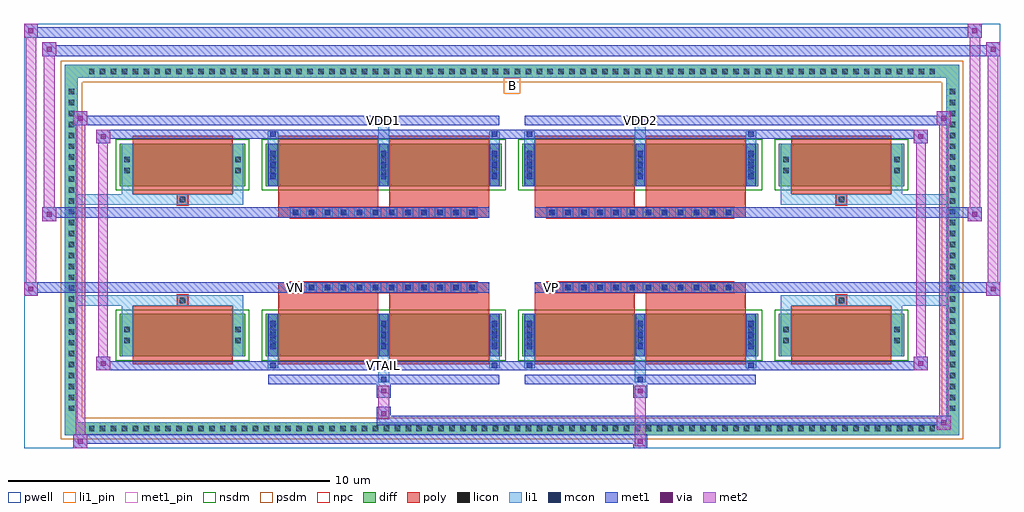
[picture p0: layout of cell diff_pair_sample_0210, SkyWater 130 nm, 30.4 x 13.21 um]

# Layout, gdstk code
import gdstk
lib = gdstk.Library(unit=1e-6, precision=5e-09)
def R(c, l, rs):  # rectangles x0, y0, x1, y1
    for r in rs: c.add(gdstk.rectangle(r[:2], r[2:], *l))
def A(c, l, x, y, w, h, nx, ny, dx, dy):  # array of equal rectangles
    R(c, l, [(x+i*dx, y+j*dy, x+i*dx+w, y+j*dy+h) for i in range(nx) for j in range(ny)])
def P(c, l, *ps):  # polygons
    for p in ps: c.add(gdstk.Polygon(p, *l))
pwell = (64, 44)
diff = (65, 20)
poly = (66, 20)
licon = (66, 44)
li1_pin = (67, 16)
li1 = (67, 20)
mcon = (67, 44)
met1_pin = (68, 16)
met1 = (68, 20)
via = (68, 44)
met2 = (69, 20)
nsdm = (93, 44)
psdm = (94, 20)
npc = (95, 20)

diff_pair_sample_0210 = lib.new_cell('diff_pair_sample_0210')
R(diff_pair_sample_0210, pwell, [(-15.2,-6.17,15.2,7.04), (-12.52,-4.36,-0.01,-0.8), (0.01,-4.36,12.52,-0.8), (-12.52,0.8,-0.01,4.36), (0.01,0.8,12.52,4.36)])
A(diff_pair_sample_0210, diff, -13.295, -5.77, 0.41, 0.41, 78, 2, 0.34, 11.13)
A(diff_pair_sample_0210, diff, -13.93, -5.135, 0.41, 0.41, 1, 30, 0, 0.34)
A(diff_pair_sample_0210, diff, 13.52, -5.135, 0.41, 0.41, 1, 30, 0, 0.34)
R(diff_pair_sample_0210, diff, [(-13.295,-5.77,13.295,-5.36), (-13.93,-5.135,-13.52,5.135), (13.52,-5.135,13.93,5.135), (-12.21,-3.315,-8.31,-1.985), (-7.67,-3.315,-0.32,-1.985), (0.32,-3.315,7.67,-1.985), (8.31,-3.315,12.21,-1.985), (-12.21,1.985,-8.31,3.315), (-7.67,1.985,-0.32,3.315), (0.32,1.985,7.67,3.315), (8.31,1.985,12.21,3.315), (-13.295,5.36,13.295,5.77)])
P(diff_pair_sample_0210, diff, [(13.93,5.77),(-13.93,5.77),(-13.93,-5.36),(-13.52,-5.36),(-13.52,5.36),(13.52,5.36),(13.52,-5.36),(-13.52,-5.36),(-13.93,-5.36),(-13.93,-5.77),(13.93,-5.77)])
A(diff_pair_sample_0210, poly, -6.91, -1.33, 0.33, 0.33, 12, 2, 0.5, 2.33)
A(diff_pair_sample_0210, poly, 1.08, -1.33, 0.33, 0.33, 12, 2, 0.5, 2.33)
R(diff_pair_sample_0210, poly, [(-11.82,-3.565,-8.7,-1.735), (-7.28,-3.565,-4.16,-1.735), (-3.83,-3.565,-0.71,-1.735), (0.71,-3.565,3.83,-1.735), (4.16,-3.565,7.28,-1.735), (8.7,-3.565,11.82,-1.735), (-10.425,-1.735,-10.095,-1.405), (-10.425,-1.735,-10.095,-1.405), (-7.28,-1.735,-4.16,-1.33), (-3.83,-1.735,-0.71,-1.33), (0.71,-1.735,3.83,-1.33), (4.16,-1.735,7.28,-1.33), (10.095,-1.735,10.425,-1.405), (10.095,-1.735,10.425,-1.405), (-7.28,-1.33,-0.71,-1), (0.71,-1.33,7.28,-1), (-7.28,1,-0.71,1.33), (0.71,1,7.28,1.33), (-7.28,1.33,-4.16,1.735), (-3.83,1.33,-0.71,1.735), (0.71,1.33,3.83,1.735), (4.16,1.33,7.28,1.735), (-10.425,1.405,-10.095,1.735), (-10.425,1.405,-10.095,1.735), (10.095,1.405,10.425,1.735), (10.095,1.405,10.425,1.735), (-11.82,1.735,-8.7,3.565), (-7.28,1.735,-4.16,3.565), (-3.83,1.735,-0.71,3.565), (0.71,1.735,3.83,3.565), (4.16,1.735,7.28,3.565), (8.7,1.735,11.82,3.565)])
A(diff_pair_sample_0210, licon, -13.175, -5.65, 0.17, 0.17, 78, 2, 0.34, 11.13)
A(diff_pair_sample_0210, licon, -13.81, -5.015, 0.17, 0.17, 1, 30, 0, 0.34)
A(diff_pair_sample_0210, licon, 13.64, -5.015, 0.17, 0.17, 1, 30, 0, 0.34)
A(diff_pair_sample_0210, licon, -7.53, -2.905, 0.17, 0.17, 3, 2, 3.45, 0.34)
A(diff_pair_sample_0210, licon, 0.46, -2.905, 0.17, 0.17, 3, 2, 3.45, 0.34)
A(diff_pair_sample_0210, licon, -6.83, -1.25, 0.17, 0.17, 12, 2, 0.5, 2.33)
A(diff_pair_sample_0210, licon, 1.16, -1.25, 0.17, 0.17, 12, 2, 0.5, 2.33)
A(diff_pair_sample_0210, licon, -7.53, 2.395, 0.17, 0.17, 3, 2, 3.45, 0.34)
A(diff_pair_sample_0210, licon, 0.46, 2.395, 0.17, 0.17, 3, 2, 3.45, 0.34)
R(diff_pair_sample_0210, licon, [(-12.07,-2.905,-11.9,-2.735), (-8.62,-2.905,-8.45,-2.735), (8.45,-2.905,8.62,-2.735), (11.9,-2.905,12.07,-2.735), (-12.07,-2.565,-11.9,-2.395), (-8.62,-2.565,-8.45,-2.395), (8.45,-2.565,8.62,-2.395), (11.9,-2.565,12.07,-2.395), (-10.345,-1.655,-10.175,-1.485), (10.175,-1.655,10.345,-1.485), (-10.345,1.485,-10.175,1.655), (10.175,1.485,10.345,1.655), (-12.07,2.395,-11.9,2.565), (-8.62,2.395,-8.45,2.565), (8.45,2.395,8.62,2.565), (11.9,2.395,12.07,2.565), (-12.07,2.735,-11.9,2.905), (-8.62,2.735,-8.45,2.905), (8.45,2.735,8.62,2.905), (11.9,2.735,12.07,2.905)])
R(diff_pair_sample_0210, li1_pin, [(-0.25,4.86,0.25,5.36)])
A(diff_pair_sample_0210, li1, -13.255, -5.73, 0.33, 0.33, 78, 2, 0.34, 11.13)
A(diff_pair_sample_0210, li1, -13.89, -5.095, 0.33, 0.33, 1, 30, 0, 0.34)
A(diff_pair_sample_0210, li1, 13.56, -5.095, 0.33, 0.33, 1, 30, 0, 0.34)
A(diff_pair_sample_0210, li1, -7.61, -3.315, 0.33, 1.33, 3, 2, 3.45, 5.3)
A(diff_pair_sample_0210, li1, 0.38, -3.315, 0.33, 1.33, 3, 2, 3.45, 5.3)
A(diff_pair_sample_0210, li1, -7.53, -3.095, 0.17, 0.17, 3, 3, 3.45, 0.36)
A(diff_pair_sample_0210, li1, -7.53, -3.095, 0.17, 0.89, 3, 2, 3.45, 5.3)
A(diff_pair_sample_0210, li1, 0.46, -3.095, 0.17, 0.17, 3, 3, 3.45, 0.36)
A(diff_pair_sample_0210, li1, 0.46, -3.095, 0.17, 0.89, 3, 2, 3.45, 5.3)
A(diff_pair_sample_0210, li1, -7.61, -2.985, 0.33, 0.33, 3, 2, 3.45, 0.34)
A(diff_pair_sample_0210, li1, 0.38, -2.985, 0.33, 0.33, 3, 2, 3.45, 0.34)
A(diff_pair_sample_0210, li1, -6.91, -1.33, 0.33, 0.33, 12, 2, 0.5, 2.33)
A(diff_pair_sample_0210, li1, 1.08, -1.33, 0.33, 0.33, 12, 2, 0.5, 2.33)
A(diff_pair_sample_0210, li1, -7.53, 2.205, 0.17, 0.17, 3, 3, 3.45, 0.36)
A(diff_pair_sample_0210, li1, 0.46, 2.205, 0.17, 0.17, 3, 3, 3.45, 0.36)
A(diff_pair_sample_0210, li1, -7.61, 2.315, 0.33, 0.33, 3, 2, 3.45, 0.34)
A(diff_pair_sample_0210, li1, 0.38, 2.315, 0.33, 0.33, 3, 2, 3.45, 0.34)
R(diff_pair_sample_0210, li1, [(-13.93,-5.77,-13.52,-5.36), (-13.93,-5.77,-13.52,-5.36), (-13.52,-5.77,13.52,-5.36), (13.52,-5.77,13.93,-5.36), (13.52,-5.77,13.93,-5.36), (-13.93,-5.36,-13.52,5.36), (13.52,-5.36,13.93,5.36), (-4.16,-4.12,-3.83,-3.315), (-4.08,-4.12,-3.91,-3.95), (3.83,-4.12,4.16,-3.315), (3.91,-4.12,4.08,-3.95), (-7.61,-3.69,-7.28,-3.315), (-7.53,-3.69,-7.36,-3.52), (-0.71,-3.69,-0.38,-3.315), (-0.63,-3.69,-0.46,-3.52), (0.38,-3.69,0.71,-3.315), (0.46,-3.69,0.63,-3.52), (7.28,-3.69,7.61,-3.315), (7.36,-3.69,7.53,-3.52), (-12.15,-3.315,-11.82,-1.985), (-8.7,-3.315,-8.37,-1.985), (8.37,-3.315,8.7,-1.985), (11.82,-3.315,12.15,-1.985), (-12.15,-2.985,-11.82,-2.655), (-8.7,-2.985,-8.37,-2.655), (8.37,-2.985,8.7,-2.655), (11.82,-2.985,12.15,-2.655), (-12.15,-2.645,-11.82,-2.315), (-8.7,-2.645,-8.37,-2.315), (8.37,-2.645,8.7,-2.315), (11.82,-2.645,12.15,-2.315), (-12.15,-1.985,-11.82,-1.405), (-8.7,-1.985,-8.37,-1.405), (8.37,-1.985,8.7,-1.405), (11.82,-1.985,12.15,-1.405), (-13.93,-1.735,-10.425,-1.405), (-12.15,-1.735,-10.425,-1.405), (-10.425,-1.735,-10.095,-1.405), (-10.095,-1.735,-8.37,-1.405), (8.37,-1.735,10.095,-1.405), (10.095,-1.735,10.425,-1.405), (10.095,-1.735,13.93,-1.405), (10.425,-1.735,12.15,-1.405), (-13.93,1.405,-10.425,1.735), (-12.15,1.405,-10.425,1.735), (-12.15,1.405,-11.82,1.985), (-10.425,1.405,-10.095,1.735), (-10.095,1.405,-8.37,1.735), (-8.7,1.405,-8.37,1.985), (8.37,1.405,10.095,1.735), (8.37,1.405,8.7,1.985), (10.095,1.405,10.425,1.735), (10.095,1.405,13.93,1.735), (10.425,1.405,12.15,1.735), (11.82,1.405,12.15,1.985), (-12.15,1.985,-11.82,3.315), (-8.7,1.985,-8.37,3.315), (8.37,1.985,8.7,3.315), (11.82,1.985,12.15,3.315), (-12.15,2.315,-11.82,2.645), (-8.7,2.315,-8.37,2.645), (8.37,2.315,8.7,2.645), (11.82,2.315,12.15,2.645), (-12.15,2.655,-11.82,2.985), (-8.7,2.655,-8.37,2.985), (8.37,2.655,8.7,2.985), (11.82,2.655,12.15,2.985), (-7.61,3.315,-7.28,3.69), (-4.16,3.315,-3.83,4.12), (-0.71,3.315,-0.38,3.69), (0.38,3.315,0.71,3.69), (3.83,3.315,4.16,4.12), (7.28,3.315,7.61,3.69), (-7.53,3.52,-7.36,3.69), (-0.63,3.52,-0.46,3.69), (0.46,3.52,0.63,3.69), (7.36,3.52,7.53,3.69), (-4.08,3.95,-3.91,4.12), (3.91,3.95,4.08,4.12), (-13.93,5.36,-13.52,5.77), (-13.93,5.36,-13.52,5.77), (-13.52,5.36,13.52,5.77), (13.52,5.36,13.93,5.77), (13.52,5.36,13.93,5.77)])
A(diff_pair_sample_0210, mcon, -7.53, -3.095, 0.17, 0.17, 3, 3, 3.45, 0.36)
A(diff_pair_sample_0210, mcon, 0.46, -3.095, 0.17, 0.17, 3, 3, 3.45, 0.36)
A(diff_pair_sample_0210, mcon, -6.83, -1.25, 0.17, 0.17, 12, 2, 0.5, 2.33)
A(diff_pair_sample_0210, mcon, 1.16, -1.25, 0.17, 0.17, 12, 2, 0.5, 2.33)
A(diff_pair_sample_0210, mcon, -7.53, 2.205, 0.17, 0.17, 3, 3, 3.45, 0.36)
A(diff_pair_sample_0210, mcon, 0.46, 2.205, 0.17, 0.17, 3, 3, 3.45, 0.36)
R(diff_pair_sample_0210, mcon, [(-4.08,-4.12,-3.91,-3.95), (3.91,-4.12,4.08,-3.95), (-7.53,-3.69,-7.36,-3.52), (-0.63,-3.69,-0.46,-3.52), (0.46,-3.69,0.63,-3.52), (7.36,-3.69,7.53,-3.52), (-7.53,3.52,-7.36,3.69), (-0.63,3.52,-0.46,3.69), (0.46,3.52,0.63,3.69), (7.36,3.52,7.53,3.69), (-4.08,3.95,-3.91,4.12), (3.91,3.95,4.08,4.12)])
R(diff_pair_sample_0210, met1_pin, [(-4.13,-3.73,-3.86,-3.46), (-6.88,-1.29,-6.61,-1.02), (1.11,-1.29,1.38,-1.02), (-4.13,3.91,-3.86,4.18), (3.86,3.91,4.13,4.18)])
A(diff_pair_sample_0210, met1, -7.59, -3.315, 0.29, 1.33, 3, 2, 3.45, 5.3)
A(diff_pair_sample_0210, met1, 0.4, -3.315, 0.29, 1.33, 3, 2, 3.45, 5.3)
A(diff_pair_sample_0210, met1, -7.59, -3.155, 0.29, 0.29, 3, 3, 3.45, 0.36)
A(diff_pair_sample_0210, met1, 0.4, -3.155, 0.29, 0.29, 3, 3, 3.45, 0.36)
A(diff_pair_sample_0210, met1, -6.89, -1.31, 0.29, 0.29, 12, 2, 0.5, 2.33)
A(diff_pair_sample_0210, met1, 1.1, -1.31, 0.29, 0.29, 12, 2, 0.5, 2.33)
A(diff_pair_sample_0210, met1, -7.59, 2.145, 0.29, 0.29, 3, 3, 3.45, 0.36)
A(diff_pair_sample_0210, met1, 0.4, 2.145, 0.29, 0.29, 3, 3, 3.45, 0.36)
R(diff_pair_sample_0210, met1, [(-13.66,-6.17,-13.23,-5.74), (3.78,-6.17,4.21,-5.74), (-13.66,-6.03,4.21,-5.74), (13.23,-5.6,13.66,-5.17), (-4.21,-5.46,13.66,-5.17), (-4.21,-5.32,-3.78,-4.89), (-4.21,-4.61,-3.78,-4.18), (3.78,-4.61,4.21,-4.18), (-7.59,-4.18,-0.4,-3.89), (-4.14,-4.18,-3.85,-3.89), (0.4,-4.18,7.59,-3.89), (3.85,-4.18,4.14,-3.89), (-12.95,-3.75,-12.52,-3.32), (-12.95,-3.75,-7.59,-3.46), (-7.59,-3.75,-7.3,-3.46), (-7.59,-3.75,-0.4,-3.46), (-0.69,-3.75,-0.4,-3.46), (-0.4,-3.75,0.4,-3.46), (0.4,-3.75,0.69,-3.46), (0.4,-3.75,7.59,-3.46), (7.3,-3.75,7.59,-3.46), (7.59,-3.75,12.95,-3.46), (12.52,-3.75,12.95,-3.32), (-15.2,-1.43,-14.77,-1), (14.77,-1.43,15.2,-1), (-15.2,-1.33,-0.71,-1), (-7.28,-1.33,-0.71,-1), (0.71,-1.33,7.28,-1), (0.71,-1.33,15.2,-1), (-14.63,0.9,-14.2,1.33), (14.2,0.9,14.63,1.33), (-14.63,1,-7.28,1.33), (-7.28,1,-0.71,1.33), (0.71,1,7.28,1.33), (7.28,1,14.63,1.33), (-12.95,3.32,-12.52,3.75), (12.52,3.32,12.95,3.75), (-12.95,3.46,-7.59,3.75), (-7.59,3.46,-7.3,3.75), (-7.59,3.46,-0.4,3.75), (-0.69,3.46,-0.4,3.75), (-0.4,3.46,0.4,3.75), (0.4,3.46,0.69,3.75), (0.4,3.46,7.59,3.75), (7.3,3.46,7.59,3.75), (7.59,3.46,12.95,3.75), (-13.66,3.89,-13.23,4.32), (-13.66,3.89,-7.59,4.18), (-7.59,3.89,-0.4,4.18), (-4.14,3.89,-3.85,4.18), (0.4,3.89,7.59,4.18), (3.85,3.89,4.14,4.18), (7.59,3.89,13.66,4.18), (13.23,3.89,13.66,4.32), (-14.63,6.04,-14.2,6.47), (-14.63,6.04,-12.52,6.37), (-12.52,6.04,12.52,6.37), (12.52,6.04,15.2,6.37), (14.77,6.04,15.2,6.47), (-15.2,6.61,-14.77,7.04), (-15.2,6.61,-12.52,6.94), (-12.52,6.61,12.52,6.94), (12.52,6.61,14.63,6.94), (14.2,6.61,14.63,7.04)])
R(diff_pair_sample_0210, via, [(-13.52,-6.03,-13.37,-5.88), (3.92,-6.03,4.07,-5.88), (13.37,-5.46,13.52,-5.31), (-4.07,-5.18,-3.92,-5.03), (-4.07,-4.47,-3.92,-4.32), (3.92,-4.47,4.07,-4.32), (-12.81,-3.61,-12.66,-3.46), (12.66,-3.61,12.81,-3.46), (-15.06,-1.29,-14.91,-1.14), (14.91,-1.29,15.06,-1.14), (-14.49,1.04,-14.34,1.19), (14.34,1.04,14.49,1.19), (-12.81,3.46,-12.66,3.61), (12.66,3.46,12.81,3.61), (-13.52,4.03,-13.37,4.18), (13.37,4.03,13.52,4.18), (-14.49,6.18,-14.34,6.33), (14.91,6.18,15.06,6.33), (-15.06,6.75,-14.91,6.9), (14.34,6.75,14.49,6.9)])
R(diff_pair_sample_0210, met2, [(-13.66,-6.17,-13.23,-5.74), (-13.59,-6.17,-13.3,4.32), (-13.3,-6.17,-13.23,-5.74), (-13.61,-6.12,-13.28,-5.79), (3.83,-6.12,4.16,-5.79), (3.83,-5.79,4.16,-4.56), (13.23,-5.6,13.66,-5.17), (13.3,-5.6,13.59,4.32), (13.59,-5.6,13.66,-5.17), (13.28,-5.55,13.61,-5.22), (-4.16,-5.27,-3.83,-4.94), (-4.16,-4.94,-3.83,-4.56), (-4.16,-4.56,-3.83,-4.23), (3.83,-4.56,4.16,-4.23), (-12.95,-3.75,-12.52,-3.32), (-12.88,-3.75,-12.59,3.75), (-12.59,-3.75,-12.52,-3.32), (12.52,-3.75,12.95,-3.32), (12.59,-3.75,12.88,3.75), (12.88,-3.75,12.95,-3.32), (-12.9,-3.7,-12.57,-3.37), (12.57,-3.7,12.9,-3.37), (-15.2,-1.43,-14.77,-1), (-15.15,-1.43,-14.82,7.04), (-14.82,-1.43,-14.77,-1), (14.77,-1.43,15.2,-1), (14.82,-1.43,15.15,6.47), (15.15,-1.43,15.2,-1), (-15.15,-1.38,-14.82,-1.05), (14.82,-1.38,15.15,-1.05), (-14.63,0.9,-14.2,1.33), (-14.58,0.9,-14.25,6.47), (-14.25,0.9,-14.2,1.33), (14.2,0.9,14.63,1.33), (14.25,0.9,14.58,7.04), (14.58,0.9,14.63,1.33), (-14.58,0.95,-14.25,1.28), (14.25,0.95,14.58,1.28), (-12.95,3.32,-12.52,3.75), (-12.59,3.32,-12.52,3.75), (12.52,3.32,12.95,3.75), (12.88,3.32,12.95,3.75), (-12.9,3.37,-12.57,3.7), (12.57,3.37,12.9,3.7), (-13.66,3.89,-13.23,4.32), (-13.3,3.89,-13.23,4.32), (13.23,3.89,13.66,4.32), (13.59,3.89,13.66,4.32), (-13.61,3.94,-13.28,4.27), (13.28,3.94,13.61,4.27), (-14.63,6.04,-14.2,6.47), (-14.25,6.04,-14.2,6.47), (14.77,6.04,15.2,6.47), (15.15,6.04,15.2,6.47), (-14.58,6.09,-14.25,6.42), (14.82,6.09,15.15,6.42), (-15.2,6.61,-14.77,7.04), (-14.82,6.61,-14.77,7.04), (14.2,6.61,14.63,7.04), (14.58,6.61,14.63,7.04), (-15.15,6.66,-14.82,6.99), (14.25,6.66,14.58,6.99)])
R(diff_pair_sample_0210, nsdm, [(-12.34,-3.445,-8.18,-1.855), (-7.8,-3.445,-0.19,-1.855), (0.19,-3.445,7.8,-1.855), (8.18,-3.445,12.34,-1.855), (-12.34,1.855,-8.18,3.445), (-7.8,1.855,-0.19,3.445), (0.19,1.855,7.8,3.445), (8.18,1.855,12.34,3.445)])
P(diff_pair_sample_0210, psdm, [(14.06,5.9),(-14.06,5.9),(-14.06,-5.23),(-13.39,-5.23),(-13.39,5.23),(13.39,5.23),(13.39,-5.23),(-13.39,-5.23),(-14.06,-5.23),(-14.06,-5.9),(14.06,-5.9)])
A(diff_pair_sample_0210, npc, -6.93, -1.35, 0.37, 0.37, 12, 2, 0.5, 2.33)
A(diff_pair_sample_0210, npc, 1.06, -1.35, 0.37, 0.37, 12, 2, 0.5, 2.33)
R(diff_pair_sample_0210, npc, [(-10.445,-1.755,-10.075,-1.385), (10.075,-1.755,10.445,-1.385), (-6.93,-1.35,-6.06,-0.98), (-6.93,-1.35,-6.06,-0.98), (-6.43,-1.35,-5.56,-0.98), (-6.43,-1.35,-5.56,-0.98), (-5.93,-1.35,-5.06,-0.98), (-5.93,-1.35,-5.06,-0.98), (-5.43,-1.35,-4.56,-0.98), (-5.43,-1.35,-4.56,-0.98), (-4.93,-1.35,-4.06,-0.98), (-4.93,-1.35,-4.06,-0.98), (-4.43,-1.35,-3.56,-0.98), (-4.43,-1.35,-3.56,-0.98), (-3.93,-1.35,-3.06,-0.98), (-3.93,-1.35,-3.06,-0.98), (-3.43,-1.35,-2.56,-0.98), (-3.43,-1.35,-2.56,-0.98), (-2.93,-1.35,-2.06,-0.98), (-2.93,-1.35,-2.06,-0.98), (-2.43,-1.35,-1.56,-0.98), (-2.43,-1.35,-1.56,-0.98), (-1.93,-1.35,-1.06,-0.98), (-1.93,-1.35,-1.06,-0.98), (1.06,-1.35,1.93,-0.98), (1.06,-1.35,1.93,-0.98), (1.56,-1.35,2.43,-0.98), (1.56,-1.35,2.43,-0.98), (2.06,-1.35,2.93,-0.98), (2.06,-1.35,2.93,-0.98), (2.56,-1.35,3.43,-0.98), (2.56,-1.35,3.43,-0.98), (3.06,-1.35,3.93,-0.98), (3.06,-1.35,3.93,-0.98), (3.56,-1.35,4.43,-0.98), (3.56,-1.35,4.43,-0.98), (4.06,-1.35,4.93,-0.98), (4.06,-1.35,4.93,-0.98), (4.56,-1.35,5.43,-0.98), (4.56,-1.35,5.43,-0.98), (5.06,-1.35,5.93,-0.98), (5.06,-1.35,5.93,-0.98), (5.56,-1.35,6.43,-0.98), (5.56,-1.35,6.43,-0.98), (6.06,-1.35,6.93,-0.98), (6.06,-1.35,6.93,-0.98), (-6.93,0.98,-6.06,1.35), (-6.93,0.98,-6.06,1.35), (-6.43,0.98,-5.56,1.35), (-6.43,0.98,-5.56,1.35), (-5.93,0.98,-5.06,1.35), (-5.93,0.98,-5.06,1.35), (-5.43,0.98,-4.56,1.35), (-5.43,0.98,-4.56,1.35), (-4.93,0.98,-4.06,1.35), (-4.93,0.98,-4.06,1.35), (-4.43,0.98,-3.56,1.35), (-4.43,0.98,-3.56,1.35), (-3.93,0.98,-3.06,1.35), (-3.93,0.98,-3.06,1.35), (-3.43,0.98,-2.56,1.35), (-3.43,0.98,-2.56,1.35), (-2.93,0.98,-2.06,1.35), (-2.93,0.98,-2.06,1.35), (-2.43,0.98,-1.56,1.35), (-2.43,0.98,-1.56,1.35), (-1.93,0.98,-1.06,1.35), (-1.93,0.98,-1.06,1.35), (1.06,0.98,1.93,1.35), (1.06,0.98,1.93,1.35), (1.56,0.98,2.43,1.35), (1.56,0.98,2.43,1.35), (2.06,0.98,2.93,1.35), (2.06,0.98,2.93,1.35), (2.56,0.98,3.43,1.35), (2.56,0.98,3.43,1.35), (3.06,0.98,3.93,1.35), (3.06,0.98,3.93,1.35), (3.56,0.98,4.43,1.35), (3.56,0.98,4.43,1.35), (4.06,0.98,4.93,1.35), (4.06,0.98,4.93,1.35), (4.56,0.98,5.43,1.35), (4.56,0.98,5.43,1.35), (5.06,0.98,5.93,1.35), (5.06,0.98,5.93,1.35), (5.56,0.98,6.43,1.35), (5.56,0.98,6.43,1.35), (6.06,0.98,6.93,1.35), (6.06,0.98,6.93,1.35), (-10.445,1.385,-10.075,1.755), (10.075,1.385,10.445,1.755)])
diff_pair_sample_0210.add(gdstk.Label('VTAIL', (-3.995,-3.595), layer=68, texttype=5))
diff_pair_sample_0210.add(gdstk.Label('VN', (-6.745,-1.155), layer=68, texttype=5))
diff_pair_sample_0210.add(gdstk.Label('VP', (1.245,-1.155), layer=68, texttype=5))
diff_pair_sample_0210.add(gdstk.Label('B', (0,5.11), layer=67, texttype=5))
diff_pair_sample_0210.add(gdstk.Label('VDD2', (3.995,4.045), layer=68, texttype=5))
diff_pair_sample_0210.add(gdstk.Label('VDD1', (-3.995,4.045), layer=68, texttype=5))

lib.write_gds('diff_pair_sample_0210.gds')
